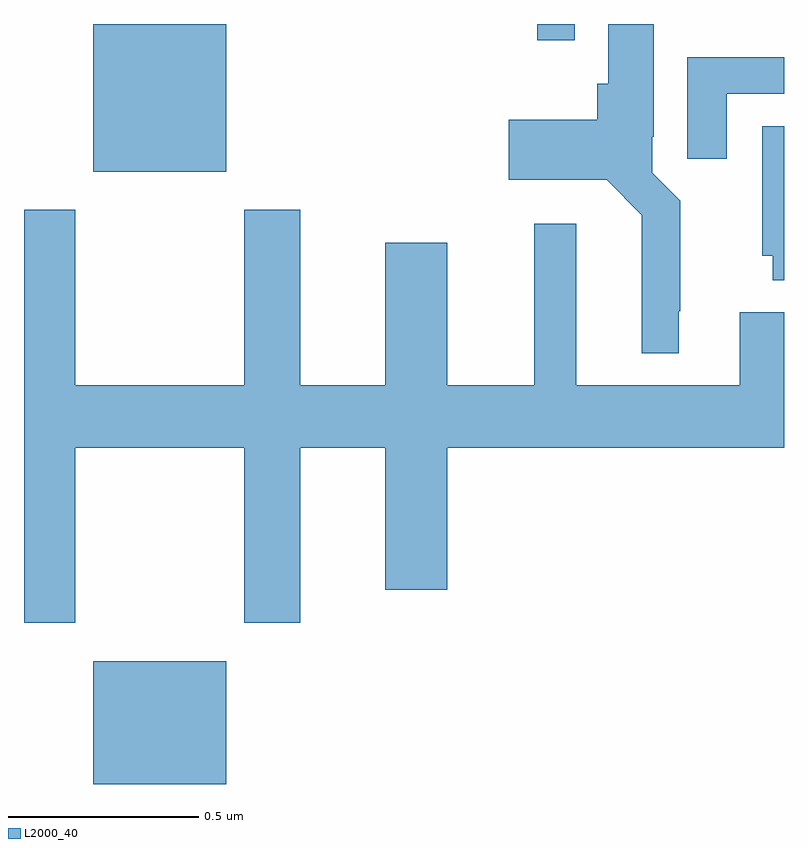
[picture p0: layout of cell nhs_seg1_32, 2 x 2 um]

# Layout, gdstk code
import gdstk
lib = gdstk.Library(unit=1e-6, precision=1e-09)
def R(c, l, rs):  # rectangles x0, y0, x1, y1
    for r in rs: c.add(gdstk.rectangle(r[:2], r[2:], *l))
def P(c, l, *ps):  # polygons
    for p in ps: c.add(gdstk.Polygon(p, *l))
L2000_40 = (2000, 40)

nhs_seg1_32 = lib.new_cell('nhs_seg1_32')
R(nhs_seg1_32, L2000_40, [(111.182,532.199,111.532,532.522), (111.182,533.81,111.532,534.199), (112.351,534.156,112.449,534.199)])
P(nhs_seg1_32, L2000_40, [(112.723,533.443),(112.727,533.443),(112.727,533.734),(112.653,533.808),(112.653,533.902),(112.657,533.902),(112.657,534.199),(112.538,534.199),(112.538,534.042),(112.508,534.042),(112.508,533.947),(112.275,533.947),(112.275,533.789),(112.533,533.789),(112.626,533.696),(112.626,533.594),(112.625,533.594),(112.625,533.333),(112.723,533.333)],
  [(112.849,534.015),(113,534.015),(113,534.111),(112.745,534.111),(112.745,533.844),(112.849,533.844)],
  [(113,533.93),(112.943,533.93),(112.943,533.589),(112.97,533.589),(112.97,533.525),(113,533.525)],
  [(111.135,533.084),(111.58,533.084),(111.58,532.623),(111.727,532.623),(111.727,533.084),(111.95,533.084),(111.95,532.71),(112.114,532.71),(112.114,533.084),(113,533.084),(113,533.44),(112.883,533.44),(112.883,533.248),(112.453,533.248),(112.453,533.674),(112.343,533.674),(112.343,533.248),(112.114,533.248),(112.114,533.623),(111.95,533.623),(111.95,533.248),(111.727,533.248),(111.727,533.71),(111.58,533.71),(111.58,533.248),(111.135,533.248),(111.135,533.71),(111,533.71),(111,532.623),(111.135,532.623)])

lib.write_gds('nhs_seg1_32.gds')
